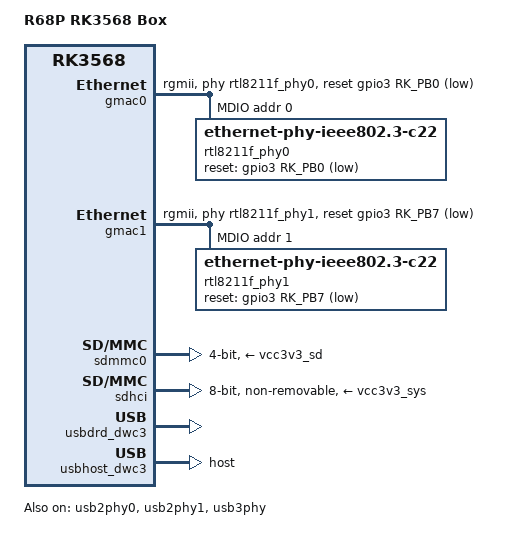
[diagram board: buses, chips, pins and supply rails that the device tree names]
// SPDX-License-Identifier: (GPL-2.0+ OR MIT)
/*
 * Copyright (c) 2025 R68P Community
 * Based on rk3568-rock-3a.dts
 */

/dts-v1/;
#include <dt-bindings/leds/common.h>
#include "rk3568-rock-3a.dts"

/ {
	model = "R68P RK3568 Box";
	compatible = "r68p,rk3568", "rockchip,rk3568";

	aliases {
		mmc0 = &sdmmc0;
		mmc1 = &sdhci;
		mmc2 = &sdmmc1;
		ethernet0 = &gmac0;   /* 靠近电源口 -> eth0 = LAN */
		ethernet1 = &gmac1;   /* 另一个网口 -> eth1 = WAN */
	};

	chosen {
		stdout-path = &uart2;
	};
};

&gmac0 {
	status = "okay";
	phy-handle = <&rtl8211f_phy0>;
	phy-mode = "rgmii";
	clock_in_out = "input";
	tx_delay = <0x3c>;
	rx_delay = <0x2f>;
	pinctrl-names = "default";
	pinctrl-0 = <&rgmii1_pins &mdio1_pins>;

	snps,reset-gpio = <&gpio3 RK_PB0 GPIO_ACTIVE_LOW>;
	snps,reset-active-low;
	snps,reset-delays-us = <0 20000 100000>;

	mdio {
		compatible = "snps,dwmac-mdio";
		#address-cells = <1>;
		#size-cells = <0>;

		rtl8211f_phy0: ethernet-phy@0 {
			compatible = "ethernet-phy-ieee802.3-c22";
			reg = <0>;
			pinctrl-names = "default";
			pinctrl-0 = <&eth_phy0_rst>;
			reset-assert-us = <10000>;
			reset-deassert-us = <50000>;
			reset-gpios = <&gpio3 RK_PB0 GPIO_ACTIVE_LOW>;
		};
	};
};

&gmac1 {
	status = "okay";
	phy-handle = <&rtl8211f_phy1>;
	phy-mode = "rgmii";
	clock_in_out = "output";
	tx_delay = <0x2a>;
	rx_delay = <0x1a>;
	pinctrl-names = "default";
	pinctrl-0 = <&rgmii2_pins &mdio2_pins>;

	snps,reset-gpio = <&gpio3 RK_PB7 GPIO_ACTIVE_LOW>;
	snps,reset-active-low;
	snps,reset-delays-us = <0 20000 100000>;

	mdio {
		compatible = "snps,dwmac-mdio";
		#address-cells = <1>;
		#size-cells = <0>;

		rtl8211f_phy1: ethernet-phy@1 {
			compatible = "ethernet-phy-ieee802.3-c22";
			reg = <1>;
			reset-assert-us = <10000>;
			reset-deassert-us = <50000>;
			reset-gpios = <&gpio3 RK_PB7 GPIO_ACTIVE_LOW>;
		};
	};
};

/* SD 卡（启动介质） */
&sdmmc0 {
	bus-width = <4>;
	cap-sd-highspeed;
	disable-wp;
	max-frequency = <150000000>;
	pinctrl-names = "default";
	pinctrl-0 = <&sdmmc0_bus4 &sdmmc0_clk &sdmmc0_cmd &sdmmc0_det>;
	sd-uhs-sdr104;
	vmmc-supply = <&vcc3v3_sd>;
	vqmmc-supply = <&vcc_sdio>;
	status = "okay";
};

/* eMMC */
&sdhci {
	bus-width = <8>;
	max-frequency = <200000000>;
	mmc-hs200-1_8v;
	non-removable;
	pinctrl-names = "default";
	pinctrl-0 = <&emmc_bus8 &emmc_clk &emmc_cmd &emmc_datastrobe>;
	vmmc-supply = <&vcc3v3_sys>;
	vqmmc-supply = <&vcc_1v8>;
	status = "okay";
};

/* USB 3.0 */
&usb2phy0 {
	status = "okay";
};
&usb2phy1 {
	status = "okay";
};
&usb3phy {
	status = "okay";
};
&usbdrd_dwc3 {
	status = "okay";
};
&usbhost_dwc3 {
	dr_mode = "host";
	status = "okay";
};
